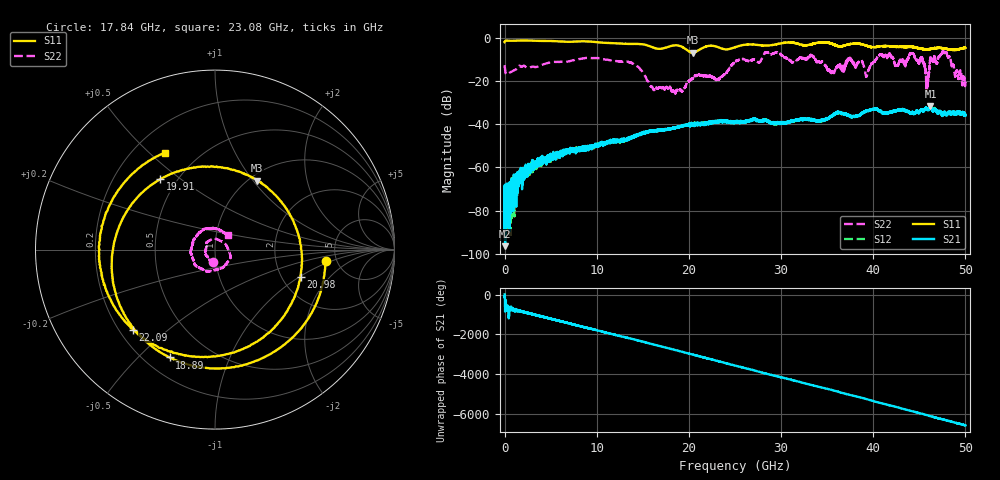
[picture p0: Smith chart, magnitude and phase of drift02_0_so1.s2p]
!Created with skrf (http://scikit-rf.org).
# Hz S RI R 50.0
!freq ReS11 ImS11 ReS21 ImS21 ReS12 ImS12 ReS22 ImS22
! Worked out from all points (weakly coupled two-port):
!   10001 points, 300 kHz to 50 GHz, reference 50 ohm
!   highest |S21| = -31.69 dB at 46.21 GHz (marker M1); lowest = -96.5 dB at 55.3 MHz (marker M2)
!   lowest |S11| = -6.9 dB at 20.4 GHz (marker M3), VSWR 2.63, Z = 54.3 + j52.3 ohm
!   |S11| at or under -10 dB: nowhere
!   |S22| runs from -26.8 to -6.3 dB; largest |S21 - S12| = 0.003
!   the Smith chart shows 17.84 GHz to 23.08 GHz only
!   S11 on the Smith chart (normalised r, x): 17.84 GHz: 4.07, -0.83; 18.89 GHz: 0.30, -0.62; 19.91 GHz: 0.41, +0.42; 20.98 GHz: 2.53, -1.02; 22.09 GHz: 0.26, -0.38; 23.08 GHz: 0.33, +0.56
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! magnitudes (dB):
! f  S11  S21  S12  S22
! 300 kHz  -2.1  -69.0  -74.0  -12.8
! 55.3 MHz  -1.6  -96.5  -81.0  -15.1
! 3.05 GHz  -1.4  -58.6  -58.7  -13.4
! 8.335 GHz  -1.7  -50.6  -51.5  -9.8
! 13.7 GHz  -3.0  -46.5  -46.3  -11.6
! 16.67 GHz  -5.2  -43.1  -43.2  -23.5
! 17.84 GHz  -4.2  -42.2  -42.3  -23.1
! 18.89 GHz  -3.7  -41.5  -41.5  -24.5
! 19.91 GHz  -6.1  -40.3  -40.1  -20.2
! 20.4 GHz  -6.9  -40.3  -40.4  -19.0
! 20.98 GHz  -6.0  -40.4  -39.8  -17.1
! 22.09 GHz  -3.9  -39.2  -39.2  -17.9
! 23.08 GHz  -4.3  -38.8  -38.9  -19.3
! 25 GHz  -4.5  -39.4  -39.2  -11.3
! 33.34 GHz  -3.0  -37.8  -38.0  -8.3
! 39.3 GHz  -3.8  -34.1  -33.8  -17.8
! 41.67 GHz  -4.0  -34.7  -34.9  -8.0
! 44.23 GHz  -4.1  -34.6  -34.8  -7.3
! 45.85 GHz  -5.4  -32.9  -33.0  -21.0
! 46.21 GHz  -5.3  -31.7  -31.5  -9.6
! 47.76 GHz  -5.1  -35.0  -34.4  -6.7
! 50 GHz  -4.7  -35.9  -35.8  -21.1
